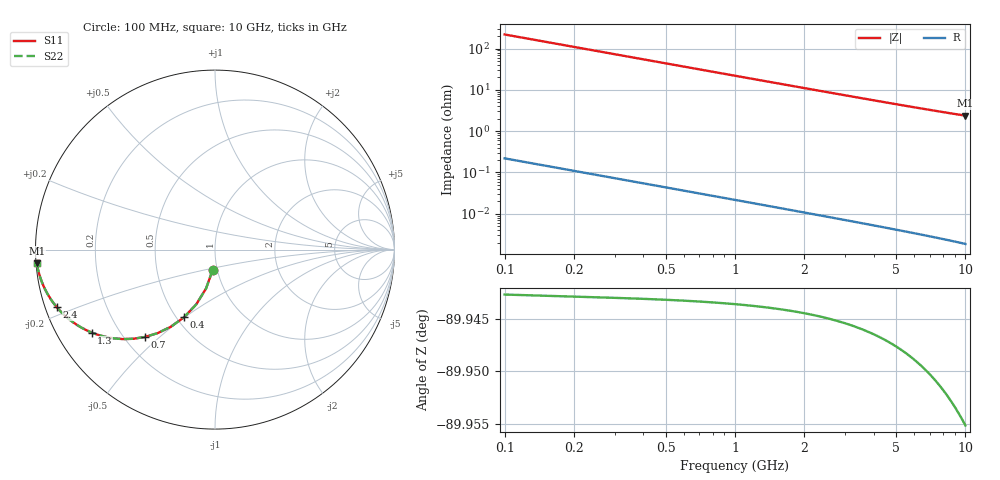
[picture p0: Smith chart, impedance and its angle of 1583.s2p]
# Hz S RI R 50.00
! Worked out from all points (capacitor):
!   100 points, 100 MHz to 10 GHz, reference 50 ohm
!   read as one part in shunt: C = 7.27 pF near 100 MHz
!   lowest |Z| = 2.37 ohm at 10 GHz (marker M1)
!   S11 on the Smith chart (normalised r, x): 100 MHz: 0.95, -0.22; 400 MHz: 0.55, -0.50; 700 MHz: 0.28, -0.45; 1.3 GHz: 0.10, -0.30; 2.4 GHz: 0.03, -0.18; 10 GHz: 0.00, -0.04
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1e8  -0.013 -0.1127  0.987 -0.1128  0.987 -0.1128  -0.013 -0.1127
2e8  -0.0498 -0.2169  0.9502 -0.2172  0.9502 -0.2172  -0.0498 -0.2169
3e8  -0.1053 -0.3062  0.8947 -0.3067  0.8947 -0.3067  -0.1053 -0.3062
4e8  -0.1729 -0.3774  0.8271 -0.378  0.8271 -0.378  -0.1729 -0.3774
5e8  -0.2461 -0.4298  0.7539 -0.4306  0.7539 -0.4306  -0.2461 -0.4298
6e8  -0.3196 -0.4653  0.6804 -0.4663  0.6804 -0.4663  -0.3196 -0.4653
7e8  -0.3899 -0.4867  0.6101 -0.4878  0.6101 -0.4878  -0.3899 -0.4867
8e8  -0.4548 -0.4968  0.5452 -0.4981  0.5452 -0.4981  -0.4548 -0.4968
1e9  -0.5656 -0.4944  0.4344 -0.496  0.4344 -0.496  -0.5656 -0.4944
1.1e9  -0.6116 -0.486  0.3884 -0.4878  0.3884 -0.4878  -0.6116 -0.486
1.3e9  -0.6872 -0.4621  0.3128 -0.4642  0.3128 -0.4642  -0.6872 -0.4621
1.5e9  -0.745 -0.4341  0.2549 -0.4365  0.2549 -0.4365  -0.745 -0.4341
1.8e9  -0.8078 -0.3921  0.1922 -0.395  0.1922 -0.395  -0.8078 -0.3921
2.1e9  -0.851 -0.3538  0.1489 -0.3572  0.1489 -0.3572  -0.851 -0.3538
2.4e9  -0.8817 -0.3205  0.1182 -0.3244  0.1182 -0.3244  -0.8817 -0.3205
2.9e9  -0.9157 -0.2749  0.0842 -0.2796  0.0842 -0.2796  -0.9157 -0.2749
3.4e9  -0.9372 -0.2393  0.0628 -0.2448  0.0628 -0.2448  -0.9372 -0.2393
4.2e9  -0.9579 -0.1968  0.042 -0.2037  0.042 -0.2037  -0.9579 -0.1968
5.1e9  -0.9711 -0.1628  0.0289 -0.1712  0.0289 -0.1712  -0.9711 -0.1628
6.7e9  -0.9831 -0.1226  0.0168 -0.1338  0.0168 -0.1338  -0.9831 -0.1226
8.4e9  -0.9892 -0.0952  0.0106 -0.1094  0.0106 -0.1094  -0.9892 -0.0952
1e10  -0.9924 -0.0769  0.00736 -0.0941  0.00736 -0.0941  -0.9924 -0.0769
